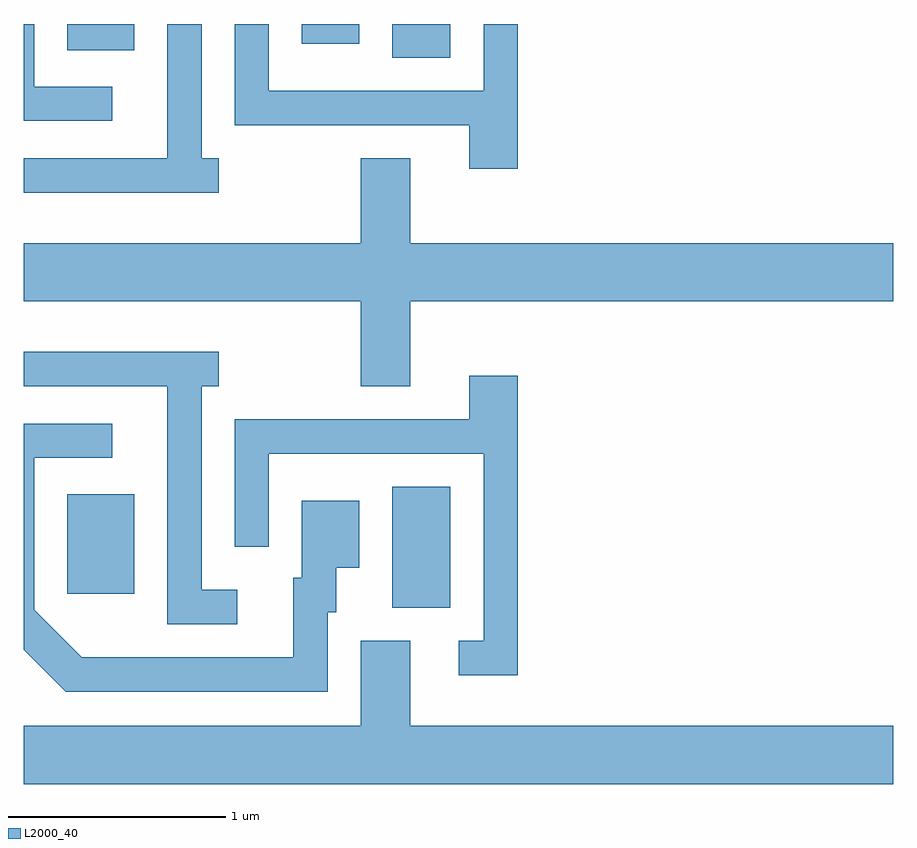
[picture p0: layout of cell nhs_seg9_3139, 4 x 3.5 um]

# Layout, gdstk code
import gdstk
lib = gdstk.Library(unit=1e-6, precision=1e-09)
def R(c, l, rs):  # rectangles x0, y0, x1, y1
    for r in rs: c.add(gdstk.rectangle(r[:2], r[2:], *l))
def P(c, l, *ps):  # polygons
    for p in ps: c.add(gdstk.Polygon(p, *l))
L2000_40 = (2000, 40)

nhs_seg9_3139 = lib.new_cell('nhs_seg9_3139')
R(nhs_seg9_3139, L2000_40, [(279.306,1983.746,279.574,1984.304), (277.811,1983.811,278.119,1984.269), (279.306,1986.276,279.574,1986.432), (277.811,1986.311,278.119,1986.432), (278.891,1986.341,279.154,1986.432)])
P(nhs_seg9_3139, L2000_40, [(279.884,1986.432),(279.726,1986.432),(279.726,1986.124),(278.739,1986.124),(278.739,1986.432),(278.581,1986.432),(278.581,1985.966),(279.661,1985.966),(279.661,1985.766),(279.884,1985.766)],
  [(278.018,1986.144),(277.659,1986.144),(277.659,1986.432),(277.611,1986.432),(277.611,1985.986),(278.018,1985.986)],
  [(278.508,1985.814),(278.429,1985.814),(278.429,1986.432),(278.271,1986.432),(278.271,1985.814),(277.611,1985.814),(277.611,1985.656),(278.508,1985.656)],
  [(279.389,1985.156),(281.611,1985.156),(281.611,1985.424),(279.389,1985.424),(279.389,1985.814),(279.161,1985.814),(279.161,1985.424),(277.611,1985.424),(277.611,1985.156),(279.161,1985.156),(279.161,1984.766),(279.389,1984.766)],
  [(278.593,1983.829),(278.429,1983.829),(278.429,1984.766),(278.508,1984.766),(278.508,1984.924),(277.611,1984.924),(277.611,1984.766),(278.271,1984.766),(278.271,1983.671),(278.593,1983.671)],
  [(279.884,1984.814),(279.661,1984.814),(279.661,1984.614),(278.581,1984.614),(278.581,1984.028),(278.739,1984.028),(278.739,1984.456),(279.726,1984.456),(279.726,1983.594),(279.613,1983.594),(279.613,1983.436),(279.884,1983.436)],
  [(279.009,1983.726),(279.049,1983.726),(279.049,1983.931),(279.154,1983.931),(279.154,1984.239),(278.891,1984.239),(278.891,1983.884),(278.851,1983.884),(278.851,1983.519),(277.877,1983.519),(277.659,1983.737),(277.659,1984.436),(278.018,1984.436),(278.018,1984.594),(277.611,1984.594),(277.611,1983.554),(277.804,1983.361),(279.009,1983.361)],
  [(281.611,1983.204),(279.389,1983.204),(279.389,1983.594),(279.161,1983.594),(279.161,1983.204),(277.611,1983.204),(277.611,1982.936),(281.611,1982.936)])

lib.write_gds('nhs_seg9_3139.gds')
